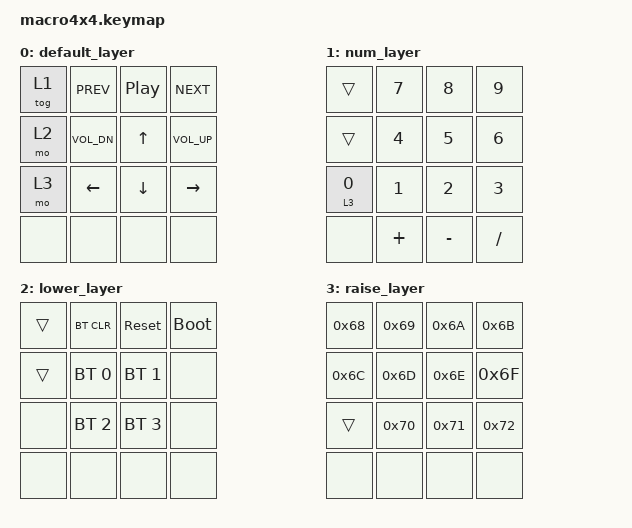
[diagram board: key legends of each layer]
/*
 * Copyright (c) 2020 The ZMK Contributors
 *
 * SPDX-License-Identifier: MIT
 */

#include <behaviors.dtsi>
#include <dt-bindings/zmk/keys.h>
#include <dt-bindings/zmk/bt.h>

/ {
    keymap {
        compatible = "zmk,keymap";

        default_layer {
            bindings = <
                &tog 1     &kp C_PREV    &kp C_PP    &kp C_NEXT
                &mo 2      &kp C_VOL_DN  &kp UP      &kp C_VOL_UP
                &mo 3      &kp LEFT      &kp DOWN    &kp RIGHT
                &none      &none         &none       &none
            >;
        };

        num_layer {
            bindings = <
                &trans     &kp N7     &kp N8     &kp N9
                &trans     &kp N4     &kp N5     &kp N6
                &lt 3 N0   &kp N1     &kp N2     &kp N3
                &none      &kp PLUS   &kp MINUS  &kp SLASH
            >;
        };

        lower_layer {
            bindings = <
                &trans      &bt BT_CLR      &sys_reset      &bootloader
                &trans      &bt BT_SEL 0    &bt BT_SEL 1    &none
                &none       &bt BT_SEL 2    &bt BT_SEL 3    &none
                &none       &none           &none           &none
            >;
        };
 
        raise_layer {
            bindings = <
                &kp 0x68   &kp 0x69   &kp 0x6A   &kp 0x6B
                &kp 0x6C   &kp 0x6D   &kp 0x6E   &kp 0x6F
                &trans     &kp 0x70   &kp 0x71   &kp 0x72
                &none      &none      &none      &none
            >;
        };

    };
};
